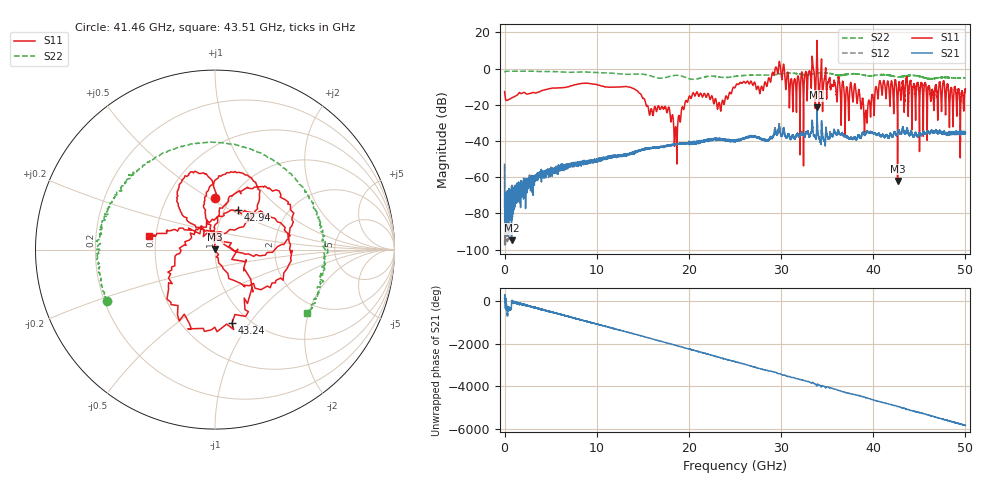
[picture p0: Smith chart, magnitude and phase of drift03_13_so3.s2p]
!Created with skrf (http://scikit-rf.org).
# Hz S RI R 50.0
!freq ReS11 ImS11 ReS21 ImS21 ReS12 ImS12 ReS22 ImS22
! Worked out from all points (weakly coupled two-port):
!   10001 points, 300 kHz to 50 GHz, reference 50 ohm
!   highest |S21| = -21.46 dB at 33.9 GHz (marker M1); lowest = -94.9 dB at 750.3 MHz (marker M2)
!   lowest |S11| = -62.1 dB at 42.64 GHz (marker M3), VSWR 1.00, Z = 50 + j0.0695 ohm
!   |S11| at or under -10 dB: start of sweep to 6.948 GHz; 13.32 GHz to 25.04 GHz (11.73 GHz wide, 61.2 % of centre); 38.07 GHz to 40.28 GHz (2.206 GHz wide, 5.63 % of centre) (the widest 3 of 65)
!   |S22| runs from -5.9 to -1.3 dB; largest |S21 - S12| = 0.0076
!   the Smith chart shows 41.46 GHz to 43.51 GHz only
!   S11 on the Smith chart (normalised r, x): 41.46 GHz: 0.85, +0.53; 42.94 GHz: 1.15, +0.55; 43.24 GHz: 0.83, -0.83; 43.51 GHz: 0.45, +0.08
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300000  -0.2111 -0.0961  -0.0017 0.00151  0.000567 0.00197  -0.7609 -0.1812
7.502955e8  -0.00935 0.1545  2.99e-06 -1.76e-05  0.000315 0.000102  -0.0448 0.8421
2.330286e9  0.0244 -0.2013  -0.000663 -8.85e-05  -0.000452 3.43e-05  0.0969 -0.8508
3.935276e9  -0.0192 0.2401  0.00131 -7.06e-05  0.00117 -0.000173  -0.0301 0.8324
5.465267e9  0.0705 -0.2812  -0.00161 9.89e-05  -0.00163 0.000162  0.1754 -0.8062
7.135257e9  0.00987 0.3322  0.00217 -0.000736  0.00206 -0.000749  -0.042 0.7922
8.33525e9  0.284 -0.2683  -0.00234 -0.00108  -0.00229 -0.000692  0.6002 -0.5362
9.585242e9  -0.3711 -0.0405  0.00153 0.00232  0.00132 0.00231  -0.7867 -0.0774
1.123023e10  0.304 0.0324  -0.00219 -0.00247  -0.0024 -0.00278  0.7557 0.0407
1.66702e10  0.0542 0.0755  0.00451 -0.00479  0.0045 -0.00492  -0.3539 0.4205
2.500015e10  -0.2967 -0.0462  0.00795 0.00583  0.00772 0.00652  -0.1898 -0.5809
3.050512e10  0.2527 -0.0861  -0.00299 0.0129  -0.00221 0.0123  0.7401 -0.0614
3.213011e10  0.2059 0.3685  -0.00044 -0.0145  -0.0004 -0.0149  -0.7003 0.0171
3.33351e10  0.4471 -0.9852  -0.00483 0.0241  -0.00605 0.0244  0.6148 0.3632
3.38951e10  -0.98 -5.925  0.0843 0.00589  0.0775 0.00258  0.6744 -0.3265
4.146005e10  -0.00148 0.2872  -0.00954 -0.0108  -0.00962 -0.0109  -0.6003 -0.2848
4.167005e10  -0.2098 0.2816  -0.0116 -0.00505  -0.0117 -0.00514  -0.6585 -0.0528
4.264004e10  0.000358 0.000694  0.00161 0.0163  0.000679 0.0166  0.1626 0.5701
4.293504e10  0.1256 0.2231  0.0073 0.0138  0.0085 0.0135  0.4801 0.3565
4.323504e10  0.0945 -0.41  0.0225 0.005  0.022 0.0072  0.6084 -0.0238
4.350504e10  -0.3702 0.0781  0.0137 -0.0087  0.0139 -0.00813  0.5147 -0.3559
5e10  -0.1623 -0.2268  0.000492 -0.0175  0.00128 -0.0174  0.4625 -0.321
